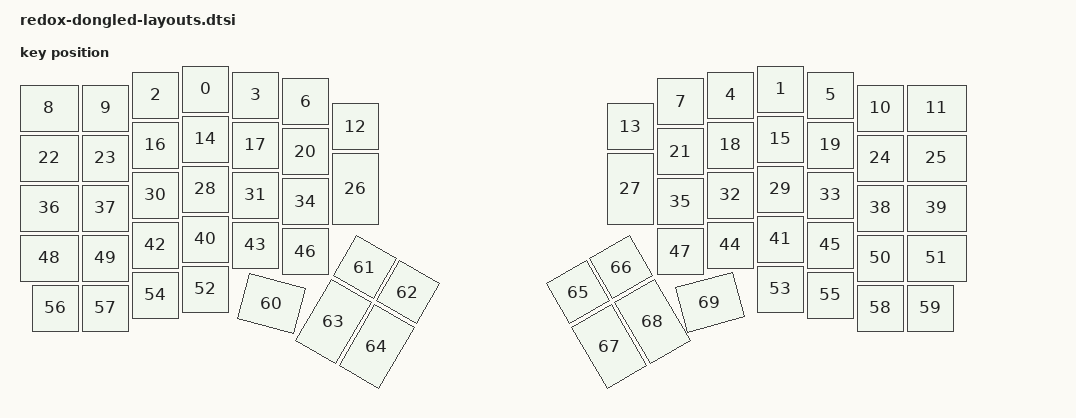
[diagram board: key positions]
#include <physical_layouts.dtsi>

/ {
    physical_layout0: physical_layout_0 {
        compatible = "zmk,physical-layout";
        display-name = "LAYOUT";

        kscan = <&kscan0>;
        transform = <&matrix_transform0>;

        keys  //                     w   h    x    y     rot    rx    ry
            = <&key_physical_attrs 100 100  325    0       0     0     0>
            , <&key_physical_attrs 100 100 1475    0       0     0     0>
            , <&key_physical_attrs 100 100  225   12       0     0     0>
            , <&key_physical_attrs 100 100  425   12       0     0     0>
            , <&key_physical_attrs 100 100 1375   12       0     0     0>
            , <&key_physical_attrs 100 100 1575   12       0     0     0>
            , <&key_physical_attrs 100 100  525   25       0     0     0>
            , <&key_physical_attrs 100 100 1275   25       0     0     0>
            , <&key_physical_attrs 125 100    0   38       0     0     0>
            , <&key_physical_attrs 100 100  125   38       0     0     0>
            , <&key_physical_attrs 100 100 1675   38       0     0     0>
            , <&key_physical_attrs 125 100 1775   38       0     0     0>
            , <&key_physical_attrs 100 100  625   75       0     0     0>
            , <&key_physical_attrs 100 100 1175   75       0     0     0>
            , <&key_physical_attrs 100 100  325  100       0     0     0>
            , <&key_physical_attrs 100 100 1475  100       0     0     0>
            , <&key_physical_attrs 100 100  225  112       0     0     0>
            , <&key_physical_attrs 100 100  425  112       0     0     0>
            , <&key_physical_attrs 100 100 1375  112       0     0     0>
            , <&key_physical_attrs 100 100 1575  112       0     0     0>
            , <&key_physical_attrs 100 100  525  125       0     0     0>
            , <&key_physical_attrs 100 100 1275  125       0     0     0>
            , <&key_physical_attrs 125 100    0  138       0     0     0>
            , <&key_physical_attrs 100 100  125  138       0     0     0>
            , <&key_physical_attrs 100 100 1675  138       0     0     0>
            , <&key_physical_attrs 125 100 1775  138       0     0     0>
            , <&key_physical_attrs 100 150  625  175       0     0     0>
            , <&key_physical_attrs 100 150 1175  175       0     0     0>
            , <&key_physical_attrs 100 100  325  200       0     0     0>
            , <&key_physical_attrs 100 100 1475  200       0     0     0>
            , <&key_physical_attrs 100 100  225  212       0     0     0>
            , <&key_physical_attrs 100 100  425  212       0     0     0>
            , <&key_physical_attrs 100 100 1375  212       0     0     0>
            , <&key_physical_attrs 100 100 1575  212       0     0     0>
            , <&key_physical_attrs 100 100  525  225       0     0     0>
            , <&key_physical_attrs 100 100 1275  225       0     0     0>
            , <&key_physical_attrs 125 100    0  238       0     0     0>
            , <&key_physical_attrs 100 100  125  238       0     0     0>
            , <&key_physical_attrs 100 100 1675  238       0     0     0>
            , <&key_physical_attrs 125 100 1775  238       0     0     0>
            , <&key_physical_attrs 100 100  325  300       0     0     0>
            , <&key_physical_attrs 100 100 1475  300       0     0     0>
            , <&key_physical_attrs 100 100  225  312       0     0     0>
            , <&key_physical_attrs 100 100  425  312       0     0     0>
            , <&key_physical_attrs 100 100 1375  312       0     0     0>
            , <&key_physical_attrs 100 100 1575  312       0     0     0>
            , <&key_physical_attrs 100 100  525  325       0     0     0>
            , <&key_physical_attrs 100 100 1275  325       0     0     0>
            , <&key_physical_attrs 125 100    0  338       0     0     0>
            , <&key_physical_attrs 100 100  125  338       0     0     0>
            , <&key_physical_attrs 100 100 1675  338       0     0     0>
            , <&key_physical_attrs 125 100 1775  338       0     0     0>
            , <&key_physical_attrs 100 100  325  400       0     0     0>
            , <&key_physical_attrs 100 100 1475  400       0     0     0>
            , <&key_physical_attrs 100 100  225  412       0     0     0>
            , <&key_physical_attrs 100 100 1575  412       0     0     0>
            , <&key_physical_attrs 100 100   25  438       0     0     0>
            , <&key_physical_attrs 100 100  125  438       0     0     0>
            , <&key_physical_attrs 100 100 1675  438       0     0     0>
            , <&key_physical_attrs 100 100 1775  438       0     0     0>
            , <&key_physical_attrs 125 100  550  275    1500 (-25)     0>
            , <&key_physical_attrs 100 100  625  325    3000   625   425>
            , <&key_physical_attrs 100 100  725  325    3000   625   425>
            , <&key_physical_attrs 100 150  625  425    3000   625   425>
            , <&key_physical_attrs 100 150  725  425    3000   625   425>
            , <&key_physical_attrs 100 100 1075  325 (-3000)  1275   425>
            , <&key_physical_attrs 100 100 1175  325 (-3000)  1275   425>
            , <&key_physical_attrs 100 150 1075  425 (-3000)  1275   425>
            , <&key_physical_attrs 100 150 1175  425 (-3000)  1275   425>
            , <&key_physical_attrs 125 100 1150  775 (-1500) (-25)     0>
            ;
    };
};

